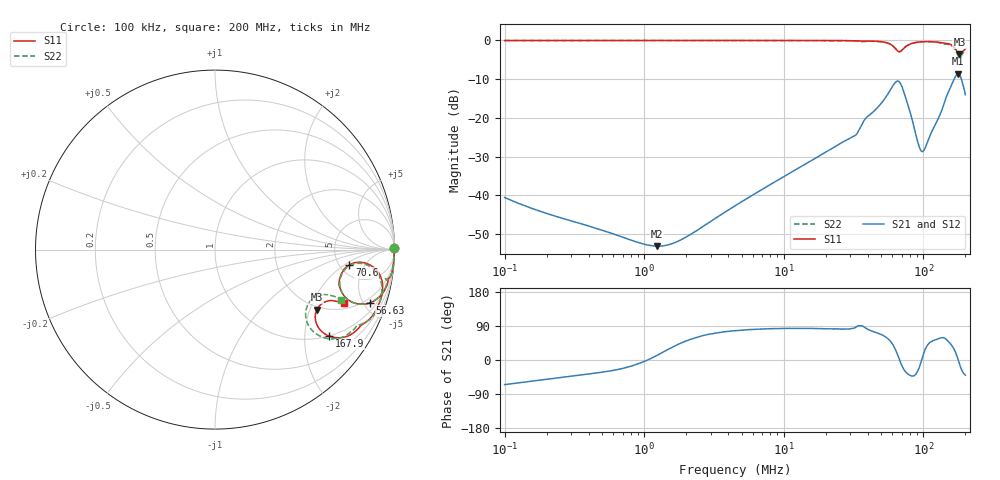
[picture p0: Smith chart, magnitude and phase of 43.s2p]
#  HZ  S  RI  R  50.00
! Rohde & Schwarz Vector Network Analyzer
! Rohde-Schwarz,ZNLE6-2Port,1323001256200024,1.71.1.10-23.02.1.238
! Created: UTC 4/7/2025, 3:05:38 AM
! freq[Hz]  re:S11  im:S11  re:S21  im:S21  re:S12  im:S12  re:S22  im:S22
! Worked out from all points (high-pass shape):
!   1001 points, 100 kHz to 200 MHz, reference 50 ohm
!   highest |S21| = -8.58 dB at 177.1 MHz (marker M1); lowest = -53.2 dB at 1.238 MHz (marker M2)
!   |S21| within 3 dB of the highest: 60.84 MHz to 69.52 MHz (8.678 MHz wide, 13.3 % of centre); 158.7 MHz to 192.7 MHz (33.94 MHz wide, 19.3 % of centre)
!   lowest |S11| = -3.6 dB at 181.2 MHz (marker M3), VSWR 4.86, Z = 94.4 - j112 ohm
!   |S11| at or under -10 dB: nowhere
!   |S22| runs from -4.4 to 0.0 dB; largest |S21 - S12| = 0.01
!   S11 on the Smith chart (normalised r, x): 100 kHz: open; 56.63 MHz: 1.56, -5.55; 70.6 MHz: 6.13, -2.41; 167.9 MHz: 0.99, -2.64; 200 MHz: 2.36, -3.55
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100000  0.9962 0.00827  0.00396 -0.00847  0.00397 -0.00849  0.9962 0.00816
355854.1  0.9968 0.00177  0.00331 -0.00269  0.00332 -0.0027  0.9968 0.00173
1237773  0.9979 -0.00352  0.00215 0.00047  0.00215 0.000472  0.998 -0.00369
1266322  0.9979 -0.00368  0.00213 0.000543  0.00213 0.000544  0.998 -0.00384
1851806  0.9981 -0.00653  0.00188 0.00191  0.00189 0.00191  0.9982 -0.00681
4472136  0.9983 -0.0188  0.0016 0.00712  0.00166 0.0071  0.9984 -0.0194
1.591428e7  0.9955 -0.0684  0.0034 0.0282  0.00361 0.0281  0.9955 -0.0713
3.251501e7  0.9761 -0.152  0.00445 0.0592  0.00573 0.0589  0.9684 -0.1602
3.843319e7  0.9634 -0.1703  0.00891 0.0972  0.00912 0.0968  0.9537 -0.1647
4.683098e7  0.9454 -0.2249  0.0435 0.1279  0.0447 0.1267  0.9444 -0.222
5.663162e7  0.863 -0.2971  0.1257 0.172  0.1288 0.1685  0.8635 -0.2951
6.444312e7  0.7091 -0.2429  0.2796 0.0988  0.2801 0.0967  0.7107 -0.2448
7.059743e7  0.7485 -0.0852  0.235 -0.0732  0.2332 -0.079  0.75 -0.0895
7.972699e7  0.8852 -0.0995  0.0953 -0.0801  0.0935 -0.0831  0.8833 -0.1079
9.211385e7  0.9329 -0.1879  0.0413 -0.0194  0.0411 -0.0206  0.9291 -0.2014
9.863572e7  0.9335 -0.2292  0.0363 0.00494  0.0366 0.00411  0.9284 -0.2454
1.388611e8  0.8264 -0.4137  0.0728 0.1217  0.0728 0.12  0.7994 -0.4204
1.544525e8  0.7626 -0.4701  0.1662 0.1661  0.1677 0.1616  0.7407 -0.4706
1.679215e8  0.6364 -0.4822  0.2989 0.1376  0.3002 0.1289  0.5973 -0.4874
1.770979e8  0.5599 -0.3943  0.3721 0.0132  0.3717 0.00352  0.5065 -0.3818
1.811826e8  0.5669 -0.3352  0.3586 -0.0616  0.3569 -0.0715  0.5146 -0.3123
2e8  0.7189 -0.2969  0.1522 -0.128  0.1498 -0.1334  0.7007 -0.2781
